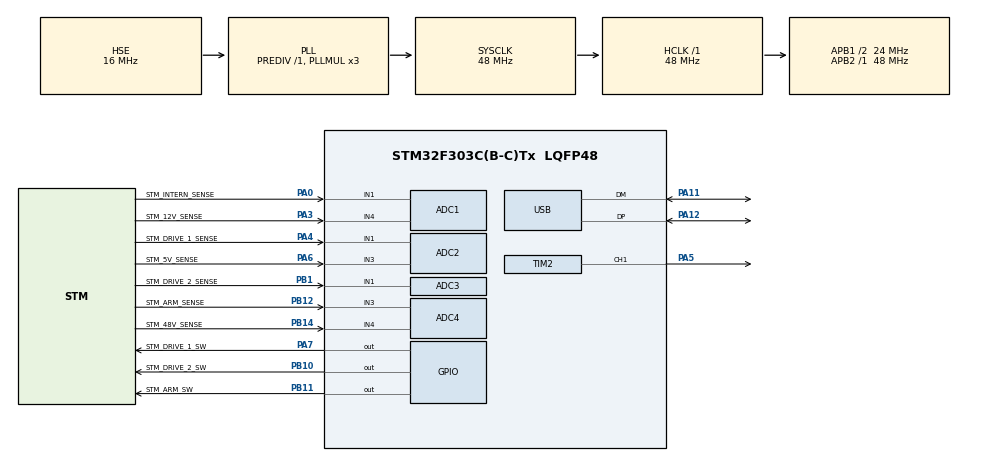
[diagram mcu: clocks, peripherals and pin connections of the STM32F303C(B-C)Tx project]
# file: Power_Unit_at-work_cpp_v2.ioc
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ADC1.Channel-0\#ChannelRegularConversion=ADC_CHANNEL_1
ADC1.Channel-1\#ChannelRegularConversion=ADC_CHANNEL_4
ADC1.ClockPrescaler=ADC_CLOCK_SYNC_PCLK_DIV2
ADC1.ContinuousConvMode=ENABLE
ADC1.DMAContinuousRequests=ENABLE
ADC1.EOCSelection=ADC_EOC_SEQ_CONV
ADC1.EnableInjectedConversion=DISABLE
ADC1.NbrOfConversion=2
ADC1.NbrOfConversionFlag=1
ADC1.Offset-0\#ChannelRegularConversion=0
ADC1.Offset-1\#ChannelRegularConversion=0
ADC1.OffsetNumber-0\#ChannelRegularConversion=ADC_OFFSET_NONE
ADC1.OffsetNumber-1\#ChannelRegularConversion=ADC_OFFSET_NONE
ADC1.Overrun=ADC_OVR_DATA_PRESERVED
ADC1.Rank-0\#ChannelRegularConversion=1
ADC1.Rank-1\#ChannelRegularConversion=2
ADC1.SamplingTime-0\#ChannelRegularConversion=ADC_SAMPLETIME_181CYCLES_5
ADC1.SamplingTime-1\#ChannelRegularConversion=ADC_SAMPLETIME_181CYCLES_5
ADC1.SamplingTimeOPAMP-1\#ChannelRegularConversion=ADC_SAMPLETIME_7CYCLES_5
ADC1.master=1
ADC2.Channel-0\#ChannelRegularConversion=ADC_CHANNEL_1
ADC2.Channel-1\#ChannelRegularConversion=ADC_CHANNEL_3
ADC2.ClockPrescaler=ADC_CLOCK_SYNC_PCLK_DIV2
ADC2.ContinuousConvMode=ENABLE
ADC2.DMAContinuousRequests=ENABLE
ADC2.EOCSelection=ADC_EOC_SEQ_CONV
ADC2.EnableInjectedConversion=DISABLE
ADC2.NbrOfConversion=2
ADC2.NbrOfConversionFlag=1
ADC2.Offset-0\#ChannelRegularConversion=0
ADC2.Offset-1\#ChannelRegularConversion=0
ADC2.OffsetNumber-0\#ChannelRegularConversion=ADC_OFFSET_NONE
ADC2.OffsetNumber-1\#ChannelRegularConversion=ADC_OFFSET_NONE
ADC2.Overrun=ADC_OVR_DATA_PRESERVED
ADC2.Rank-0\#ChannelRegularConversion=1
ADC2.Rank-1\#ChannelRegularConversion=2
ADC2.SamplingTime-0\#ChannelRegularConversion=ADC_SAMPLETIME_181CYCLES_5
ADC2.SamplingTime-1\#ChannelRegularConversion=ADC_SAMPLETIME_181CYCLES_5
ADC2.SamplingTimeOPAMP-1\#ChannelRegularConversion=ADC_SAMPLETIME_7CYCLES_5
ADC3.Channel-0\#ChannelRegularConversion=ADC_CHANNEL_1
ADC3.ClockPrescaler=ADC_CLOCK_SYNC_PCLK_DIV1
ADC3.ContinuousConvMode=ENABLE
ADC3.DMAContinuousRequests=ENABLE
ADC3.EOCSelection=ADC_EOC_SEQ_CONV
ADC3.EnableInjectedConversion=DISABLE
ADC3.NbrOfConversion=1
ADC3.NbrOfConversionFlag=1
ADC3.Offset-0\#ChannelRegularConversion=0
ADC3.OffsetNumber-0\#ChannelRegularConversion=ADC_OFFSET_NONE
ADC3.Overrun=ADC_OVR_DATA_PRESERVED
ADC3.Rank-0\#ChannelRegularConversion=1
ADC3.SamplingTime-0\#ChannelRegularConversion=ADC_SAMPLETIME_181CYCLES_5
ADC3.SamplingTimeOPAMP-0\#ChannelRegularConversion=ADC_SAMPLETIME_19CYCLES_5
ADC3.master=1
ADC4.Channel-1\#ChannelRegularConversion=ADC_CHANNEL_3
ADC4.Channel-2\#ChannelRegularConversion=ADC_CHANNEL_4
ADC4.ClockPrescaler=ADC_CLOCK_SYNC_PCLK_DIV1
ADC4.ContinuousConvMode=ENABLE
ADC4.DMAContinuousRequests=ENABLE
ADC4.EOCSelection=ADC_EOC_SEQ_CONV
ADC4.EnableInjectedConversion=DISABLE
ADC4.NbrOfConversion=2
ADC4.NbrOfConversionFlag=1
ADC4.Offset-1\#ChannelRegularConversion=0
ADC4.Offset-2\#ChannelRegularConversion=0
ADC4.OffsetNumber-1\#ChannelRegularConversion=ADC_OFFSET_NONE
ADC4.OffsetNumber-2\#ChannelRegularConversion=ADC_OFFSET_NONE
ADC4.Overrun=ADC_OVR_DATA_PRESERVED
ADC4.Rank-1\#ChannelRegularConversion=1
ADC4.Rank-2\#ChannelRegularConversion=2
ADC4.SamplingTime-1\#ChannelRegularConversion=ADC_SAMPLETIME_181CYCLES_5
ADC4.SamplingTime-2\#ChannelRegularConversion=ADC_SAMPLETIME_181CYCLES_5
ADC4.SamplingTimeOPAMP-2\#ChannelRegularConversion=ADC_SAMPLETIME_19CYCLES_5
Dma.ADC1.3.Direction=DMA_PERIPH_TO_MEMORY
Dma.ADC1.3.Instance=DMA1_Channel1
Dma.ADC1.3.MemDataAlignment=DMA_MDATAALIGN_HALFWORD
Dma.ADC1.3.MemInc=DMA_MINC_ENABLE
Dma.ADC1.3.Mode=DMA_CIRCULAR
Dma.ADC1.3.PeriphDataAlignment=DMA_PDATAALIGN_HALFWORD
Dma.ADC1.3.PeriphInc=DMA_PINC_DISABLE
Dma.ADC1.3.Priority=DMA_PRIORITY_LOW
Dma.ADC2.0.Direction=DMA_PERIPH_TO_MEMORY
Dma.ADC2.0.Instance=DMA2_Channel1
Dma.ADC2.0.MemDataAlignment=DMA_MDATAALIGN_HALFWORD
Dma.ADC2.0.MemInc=DMA_MINC_ENABLE
Dma.ADC2.0.Mode=DMA_CIRCULAR
Dma.ADC2.0.PeriphDataAlignment=DMA_PDATAALIGN_HALFWORD
Dma.ADC2.0.PeriphInc=DMA_PINC_DISABLE
Dma.ADC2.0.Priority=DMA_PRIORITY_LOW
Dma.ADC3.1.Direction=DMA_PERIPH_TO_MEMORY
Dma.ADC3.1.Instance=DMA2_Channel5
Dma.ADC3.1.MemDataAlignment=DMA_MDATAALIGN_HALFWORD
Dma.ADC3.1.MemInc=DMA_MINC_ENABLE
Dma.ADC3.1.Mode=DMA_CIRCULAR
Dma.ADC3.1.PeriphDataAlignment=DMA_PDATAALIGN_HALFWORD
Dma.ADC3.1.PeriphInc=DMA_PINC_DISABLE
Dma.ADC3.1.Priority=DMA_PRIORITY_LOW
Dma.ADC4.2.Direction=DMA_PERIPH_TO_MEMORY
Dma.ADC4.2.Instance=DMA2_Channel2
Dma.ADC4.2.MemDataAlignment=DMA_MDATAALIGN_HALFWORD
Dma.ADC4.2.MemInc=DMA_MINC_ENABLE
Dma.ADC4.2.Mode=DMA_CIRCULAR
Dma.ADC4.2.PeriphDataAlignment=DMA_PDATAALIGN_HALFWORD
Dma.ADC4.2.PeriphInc=DMA_PINC_DISABLE
Dma.ADC4.2.Priority=DMA_PRIORITY_LOW
Dma.Request0=ADC2
Dma.Request1=ADC3
Dma.Request2=ADC4
Dma.Request3=ADC1
Mcu.Family=STM32F3
Mcu.Name=STM32F303C(B-C)Tx
Mcu.Package=LQFP48
NVIC.ADC1_2_IRQn=true\:0\:0\:false\:false\:true\:true\:true\:true
NVIC.ADC3_IRQn=true\:0\:0\:false\:false\:true\:true\:true\:true
NVIC.ADC4_IRQn=true\:0\:0\:false\:false\:true\:true\:true\:true
NVIC.DMA1_Channel1_IRQn=true\:0\:0\:false\:false\:true\:false\:true\:true
NVIC.DMA2_Channel1_IRQn=true\:0\:0\:false\:false\:true\:false\:true\:true
NVIC.DMA2_Channel2_IRQn=true\:0\:0\:false\:false\:true\:false\:true\:true
NVIC.DMA2_Channel5_IRQn=true\:0\:0\:false\:false\:true\:false\:true\:true
NVIC.PriorityGroup=NVIC_PRIORITYGROUP_4
NVIC.TIM2_IRQn=true\:0\:0\:false\:false\:true\:true\:true\:true
NVIC.USB_LP_CAN_RX0_IRQn=true\:0\:0\:false\:false\:true\:false\:true\:true
PA0.GPIO_Label=STM_INTERN_SENSE
PA0.Signal=SharedAnalog_PA0
PA11.Mode=Device
PA11.Signal=USB_DM
PA12.Mode=Device
PA12.Signal=USB_DP
PA13.Mode=Serial_Wire
PA13.Signal=SYS_JTMS-SWDIO
PA14.Mode=Serial_Wire
PA14.Signal=SYS_JTCK-SWCLK
PA3.GPIO_Label=STM_12V_SENSE
PA3.Signal=SharedAnalog_PA3
PA4.GPIO_Label=STM_DRIVE_1_SENSE
PA4.Signal=SharedAnalog_PA4
PA5.Signal=S_TIM2_CH1_ETR
PA6.GPIO_Label=STM_5V_SENSE
PA6.Signal=SharedAnalog_PA6
PA7.GPIO_Label=STM_DRIVE_1_SW
PA7.Signal=GPIO_Output
PB1.GPIO_Label=STM_DRIVE_2_SENSE
PB1.Signal=SharedAnalog_PB1
PB10.GPIO_Label=STM_DRIVE_2_SW
PB10.Signal=GPIO_Output
PB11.GPIO_Label=STM_ARM_SW
PB11.Signal=GPIO_Output
PB12.GPIO_Label=STM_ARM_SENSE
PB12.Signal=SharedAnalog_PB12
PB14.GPIO_Label=STM_48V_SENSE
PB14.Signal=SharedAnalog_PB14
PF0-OSC_IN.Mode=HSE-External-Oscillator
PF0-OSC_IN.Signal=RCC_OSC_IN
PF1-OSC_OUT.Mode=HSE-External-Oscillator
PF1-OSC_OUT.Signal=RCC_OSC_OUT
ProjectManager.HeapSize=0x200
ProjectManager.StackSize=0x400
ProjectManager.TargetToolchain=STM32CubeIDE
RCC.AHBFreq_Value=48000000
RCC.APB1CLKDivider=RCC_HCLK_DIV2
RCC.APB1Freq_Value=24000000
RCC.APB1TimFreq_Value=48000000
RCC.APB2Freq_Value=48000000
RCC.APB2TimFreq_Value=48000000
RCC.CortexFreq_Value=48000000
RCC.HCLKFreq_Value=48000000
RCC.HSE_VALUE=16000000
RCC.HSI_VALUE=8000000
RCC.LSE_VALUE=32768
RCC.PLLMUL=RCC_PLL_MUL3
RCC.SYSCLKFreq_VALUE=48000000
RCC.SYSCLKSourceVirtual=RCC_SYSCLKSOURCE_PLLCLK
RCC.USBFreq_Value=48000000
SH.S_TIM2_CH1_ETR.0=TIM2_CH1,Output Compare1 CH1
SH.SharedAnalog_PA0.0=GPIO_Analog
SH.SharedAnalog_PA0.1=ADC1_IN1,IN1-Single-Ended
SH.SharedAnalog_PA3.0=GPIO_Analog
SH.SharedAnalog_PA3.1=ADC1_IN4,IN4-Single-Ended
SH.SharedAnalog_PA4.0=GPIO_Analog
SH.SharedAnalog_PA4.1=ADC2_IN1,IN1-Single-Ended
SH.SharedAnalog_PA6.0=GPIO_Analog
SH.SharedAnalog_PA6.1=ADC2_IN3,IN3-Single-Ended
SH.SharedAnalog_PB1.0=GPIO_Analog
SH.SharedAnalog_PB1.1=ADC3_IN1,IN1-Single-Ended
SH.SharedAnalog_PB12.0=GPIO_Analog
SH.SharedAnalog_PB12.1=ADC4_IN3,IN3-Single-Ended
SH.SharedAnalog_PB14.0=GPIO_Analog
SH.SharedAnalog_PB14.1=ADC4_IN4,IN4-Single-Ended
TIM2.AutoReloadPreload=TIM_AUTORELOAD_PRELOAD_ENABLE
TIM2.Channel-Output\ Compare1\ CH1=TIM_CHANNEL_1
TIM2.OC1Preload=ENABLE
TIM2.OCMode_1=TIM_OCMODE_TOGGLE
TIM2.OCPolarity_1=TIM_OCPOLARITY_LOW
TIM2.Period=99
TIM2.Prescaler=74
TIM2.Pulse-Output\ Compare1\ CH1=49
USB_DEVICE.CLASS_NAME_FS=CDC
USB_DEVICE.VirtualMode=Cdc
USB_DEVICE.VirtualModeFS=Cdc_FS
VP_TIM2_VS_ClockSourceINT.Mode=Internal
VP_USB_DEVICE_VS_USB_DEVICE_CDC_FS.Mode=CDC_FS
board=custom

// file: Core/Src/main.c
/* USER CODE BEGIN Header */
/**
  ******************************************************************************
  * @file           : main.c
  * @brief          : Main program body
  ******************************************************************************
  * @attention
  *
  * Copyright (c) 2023 STMicroelectronics.
  * All rights reserved.
  *
  * This software is licensed under terms that can be found in the LICENSE file
  * in the root directory of this software component.
  * If no LICENSE file comes with this software, it is provided AS-IS.
  *
  ******************************************************************************
  */
/* USER CODE END Header */
#include "main.h"
#include "usb_device.h"

/* USER CODE BEGIN Includes */
#include "usbd_cdc_if.h"
#include <stdbool.h>

//#include "ADC_Data.h"
/* USER CODE END Includes */

ADC_HandleTypeDef hadc1;
ADC_HandleTypeDef hadc2;
ADC_HandleTypeDef hadc3;
ADC_HandleTypeDef hadc4;
DMA_HandleTypeDef hdma_adc1;
DMA_HandleTypeDef hdma_adc2;
DMA_HandleTypeDef hdma_adc3;
DMA_HandleTypeDef hdma_adc4;

TIM_HandleTypeDef htim2;

/* USER CODE BEGIN PV */
//Buffer für Anzahl an Channels
volatile uint16_t ADC1_DMA_BUFFER[2];		// Buffer IN1, IN4 ADC1
volatile uint16_t ADC2_DMA_BUFFER[2];		// Buffer IN1, IN3 ADC2
volatile uint16_t ADC3_DMA_BUFFER[1];		// Buffer IN1 ADC3
volatile uint16_t ADC4_DMA_BUFFER[2];		// Buffer IN3, IN4 ADC3

//volatile uint16_t CONTROL_FLAG = 0;			// All flags to operate
//ADCData all{};								// Data container for ADC data
/* USER CODE END PV */

void SystemClock_Config(void);
static void MX_GPIO_Init(void);
static void MX_DMA_Init(void);
static void MX_TIM2_Init(void);
static void MX_ADC1_Init(void);
static void MX_ADC2_Init(void);
static void MX_ADC3_Init(void);
static void MX_ADC4_Init(void);
/* USER CODE BEGIN PFP */

void enable_Arm(void);
void disable_Arm(void);
void enable_Drive(void);
void disable_Drive(void);

/* USER CODE END PFP */

int main(void)
{

  /* MCU Configuration--------------------------------------------------------*/

  /* Reset of all peripherals, Initializes the Flash interface and the Systick. */
  HAL_Init();

  /* USER CODE BEGIN Init */

  //HAL_TIM_Base_Start_IT(&htim2);

  //HAL_GPIO_WritePin(STM_INTERN_SENSE_GPIO_Port, STM_INTERN_SENSE_Pin, GPIO_PIN_SET);	// Enable 24 V internal

  //enable_Arm();
  //enable_Drive();

  /* USER CODE END Init */

  /* Configure the system clock */
  SystemClock_Config();

  /* Initialize all configured peripherals */
  MX_GPIO_Init();
  MX_DMA_Init();
  MX_TIM2_Init();
  MX_ADC1_Init();
  MX_ADC2_Init();
  MX_ADC3_Init();
  MX_ADC4_Init();
  MX_USB_DEVICE_Init();
  /* USER CODE BEGIN 2 */

  enable_Arm();
  enable_Drive();

  HAL_ADC_Start_DMA(&hadc1, (uint32_t*) &ADC1_DMA_BUFFER, 2);

  /* USER CODE END 2 */

  /* Infinite loop */
  while (1)
  {

  }
}

void SystemClock_Config(void)
{
  RCC_OscInitTypeDef RCC_OscInitStruct = {0};
  RCC_ClkInitTypeDef RCC_ClkInitStruct = {0};
  RCC_PeriphCLKInitTypeDef PeriphClkInit = {0};

  /** Initializes the RCC Oscillators according to the specified parameters
  * in the RCC_OscInitTypeDef structure.
  */
  RCC_OscInitStruct.OscillatorType = RCC_OSCILLATORTYPE_HSE;
  RCC_OscInitStruct.HSEState = RCC_HSE_ON;
  RCC_OscInitStruct.HSEPredivValue = RCC_HSE_PREDIV_DIV1;
  RCC_OscInitStruct.HSIState = RCC_HSI_ON;
  RCC_OscInitStruct.PLL.PLLState = RCC_PLL_ON;
  RCC_OscInitStruct.PLL.PLLSource = RCC_PLLSOURCE_HSE;
  RCC_OscInitStruct.PLL.PLLMUL = RCC_PLL_MUL3;
  if (HAL_RCC_OscConfig(&RCC_OscInitStruct) != HAL_OK)
  {
    Error_Handler();
  }

  /** Initializes the CPU, AHB and APB buses clocks
  */
  RCC_ClkInitStruct.ClockType = RCC_CLOCKTYPE_HCLK|RCC_CLOCKTYPE_SYSCLK
                              |RCC_CLOCKTYPE_PCLK1|RCC_CLOCKTYPE_PCLK2;
  RCC_ClkInitStruct.SYSCLKSource = RCC_SYSCLKSOURCE_PLLCLK;
  RCC_ClkInitStruct.AHBCLKDivider = RCC_SYSCLK_DIV1;
  RCC_ClkInitStruct.APB1CLKDivider = RCC_HCLK_DIV2;
  RCC_ClkInitStruct.APB2CLKDivider = RCC_HCLK_DIV1;

  if (HAL_RCC_ClockConfig(&RCC_ClkInitStruct, FLASH_LATENCY_1) != HAL_OK)
  {
    Error_Handler();
  }
  PeriphClkInit.PeriphClockSelection = RCC_PERIPHCLK_USB;
  PeriphClkInit.USBClockSelection = RCC_USBCLKSOURCE_PLL;
  if (HAL_RCCEx_PeriphCLKConfig(&PeriphClkInit) != HAL_OK)
  {
    Error_Handler();
  }
}

static void MX_ADC1_Init(void)
{

  ADC_MultiModeTypeDef multimode = {0};
  ADC_ChannelConfTypeDef sConfig = {0};

  /** Common config
  */
  hadc1.Instance = ADC1;
  hadc1.Init.ClockPrescaler = ADC_CLOCK_SYNC_PCLK_DIV2;
  hadc1.Init.Resolution = ADC_RESOLUTION_12B;
  hadc1.Init.ScanConvMode = ADC_SCAN_ENABLE;
  hadc1.Init.ContinuousConvMode = ENABLE;
  hadc1.Init.DiscontinuousConvMode = DISABLE;
  hadc1.Init.ExternalTrigConvEdge = ADC_EXTERNALTRIGCONVEDGE_NONE;
  hadc1.Init.ExternalTrigConv = ADC_SOFTWARE_START;
  hadc1.Init.DataAlign = ADC_DATAALIGN_RIGHT;
  hadc1.Init.NbrOfConversion = 2;
  hadc1.Init.DMAContinuousRequests = ENABLE;
  hadc1.Init.EOCSelection = ADC_EOC_SEQ_CONV;
  hadc1.Init.LowPowerAutoWait = DISABLE;
  hadc1.Init.Overrun = ADC_OVR_DATA_PRESERVED;
  if (HAL_ADC_Init(&hadc1) != HAL_OK)
  {
    Error_Handler();
  }

  /** Configure the ADC multi-mode
  */
  multimode.Mode = ADC_MODE_INDEPENDENT;
  if (HAL_ADCEx_MultiModeConfigChannel(&hadc1, &multimode) != HAL_OK)
  {
    Error_Handler();
  }

  /** Configure Regular Channel
  */
  sConfig.Channel = ADC_CHANNEL_1;
  sConfig.Rank = ADC_REGULAR_RANK_1;
  sConfig.SingleDiff = ADC_SINGLE_ENDED;
  sConfig.SamplingTime = ADC_SAMPLETIME_181CYCLES_5;
  sConfig.OffsetNumber = ADC_OFFSET_NONE;
  sConfig.Offset = 0;
  if (HAL_ADC_ConfigChannel(&hadc1, &sConfig) != HAL_OK)
  {
    Error_Handler();
  }

  /** Configure Regular Channel
  */
  sConfig.Channel = ADC_CHANNEL_4;
  sConfig.Rank = ADC_REGULAR_RANK_2;
  if (HAL_ADC_ConfigChannel(&hadc1, &sConfig) != HAL_OK)
  {
    Error_Handler();
  }

}

static void MX_ADC2_Init(void)
{

  ADC_ChannelConfTypeDef sConfig = {0};

  /** Common config
  */
  hadc2.Instance = ADC2;
  hadc2.Init.ClockPrescaler = ADC_CLOCK_SYNC_PCLK_DIV2;
  hadc2.Init.Resolution = ADC_RESOLUTION_12B;
  hadc2.Init.ScanConvMode = ADC_SCAN_ENABLE;
  hadc2.Init.ContinuousConvMode = ENABLE;
  hadc2.Init.DiscontinuousConvMode = DISABLE;
  hadc2.Init.ExternalTrigConvEdge = ADC_EXTERNALTRIGCONVEDGE_NONE;
  hadc2.Init.ExternalTrigConv = ADC_SOFTWARE_START;
  hadc2.Init.DataAlign = ADC_DATAALIGN_RIGHT;
  hadc2.Init.NbrOfConversion = 2;
  hadc2.Init.DMAContinuousRequests = ENABLE;
  hadc2.Init.EOCSelection = ADC_EOC_SEQ_CONV;
  hadc2.Init.LowPowerAutoWait = DISABLE;
  hadc2.Init.Overrun = ADC_OVR_DATA_PRESERVED;
  if (HAL_ADC_Init(&hadc2) != HAL_OK)
  {
    Error_Handler();
  }

  /** Configure Regular Channel
  */
  sConfig.Channel = ADC_CHANNEL_1;
  sConfig.Rank = ADC_REGULAR_RANK_1;
  sConfig.SingleDiff = ADC_SINGLE_ENDED;
  sConfig.SamplingTime = ADC_SAMPLETIME_181CYCLES_5;
  sConfig.OffsetNumber = ADC_OFFSET_NONE;
  sConfig.Offset = 0;
  if (HAL_ADC_ConfigChannel(&hadc2, &sConfig) != HAL_OK)
  {
    Error_Handler();
  }

  /** Configure Regular Channel
  */
  sConfig.Channel = ADC_CHANNEL_3;
  sConfig.Rank = ADC_REGULAR_RANK_2;
  if (HAL_ADC_ConfigChannel(&hadc2, &sConfig) != HAL_OK)
  {
    Error_Handler();
  }

}

static void MX_ADC3_Init(void)
{

  ADC_MultiModeTypeDef multimode = {0};
  ADC_ChannelConfTypeDef sConfig = {0};

  /** Common config
  */
  hadc3.Instance = ADC3;
  hadc3.Init.ClockPrescaler = ADC_CLOCK_SYNC_PCLK_DIV1;
  hadc3.Init.Resolution = ADC_RESOLUTION_12B;
  hadc3.Init.ScanConvMode = ADC_SCAN_DISABLE;
  hadc3.Init.ContinuousConvMode = ENABLE;
  hadc3.Init.DiscontinuousConvMode = DISABLE;
  hadc3.Init.ExternalTrigConvEdge = ADC_EXTERNALTRIGCONVEDGE_NONE;
  hadc3.Init.ExternalTrigConv = ADC_SOFTWARE_START;
  hadc3.Init.DataAlign = ADC_DATAALIGN_RIGHT;
  hadc3.Init.NbrOfConversion = 1;
  hadc3.Init.DMAContinuousRequests = ENABLE;
  hadc3.Init.EOCSelection = ADC_EOC_SEQ_CONV;
  hadc3.Init.LowPowerAutoWait = DISABLE;
  hadc3.Init.Overrun = ADC_OVR_DATA_PRESERVED;
  if (HAL_ADC_Init(&hadc3) != HAL_OK)
  {
    Error_Handler();
  }

  /** Configure the ADC multi-mode
  */
  multimode.Mode = ADC_MODE_INDEPENDENT;
  if (HAL_ADCEx_MultiModeConfigChannel(&hadc3, &multimode) != HAL_OK)
  {
    Error_Handler();
  }

  /** Configure Regular Channel
  */
  sConfig.Channel = ADC_CHANNEL_1;
  sConfig.Rank = ADC_REGULAR_RANK_1;
  sConfig.SingleDiff = ADC_SINGLE_ENDED;
  sConfig.SamplingTime = ADC_SAMPLETIME_181CYCLES_5;
  sConfig.OffsetNumber = ADC_OFFSET_NONE;
  sConfig.Offset = 0;
  if (HAL_ADC_ConfigChannel(&hadc3, &sConfig) != HAL_OK)
  {
    Error_Handler();
  }

}

static void MX_ADC4_Init(void)
{

  ADC_ChannelConfTypeDef sConfig = {0};

  /** Common config
  */
  hadc4.Instance = ADC4;
  hadc4.Init.ClockPrescaler = ADC_CLOCK_SYNC_PCLK_DIV1;
  hadc4.Init.Resolution = ADC_RESOLUTION_12B;
  hadc4.Init.ScanConvMode = ADC_SCAN_ENABLE;
  hadc4.Init.ContinuousConvMode = ENABLE;
  hadc4.Init.DiscontinuousConvMode = DISABLE;
  hadc4.Init.ExternalTrigConvEdge = ADC_EXTERNALTRIGCONVEDGE_NONE;
  hadc4.Init.ExternalTrigConv = ADC_SOFTWARE_START;
  hadc4.Init.DataAlign = ADC_DATAALIGN_RIGHT;
  hadc4.Init.NbrOfConversion = 2;
  hadc4.Init.DMAContinuousRequests = ENABLE;
  hadc4.Init.EOCSelection = ADC_EOC_SEQ_CONV;
  hadc4.Init.LowPowerAutoWait = DISABLE;
  hadc4.Init.Overrun = ADC_OVR_DATA_PRESERVED;
  if (HAL_ADC_Init(&hadc4) != HAL_OK)
  {
    Error_Handler();
  }

  /** Configure Regular Channel
  */
  sConfig.Channel = ADC_CHANNEL_3;
  sConfig.Rank = ADC_REGULAR_RANK_1;
  sConfig.SingleDiff = ADC_SINGLE_ENDED;
  sConfig.SamplingTime = ADC_SAMPLETIME_181CYCLES_5;
  sConfig.OffsetNumber = ADC_OFFSET_NONE;
  sConfig.Offset = 0;
  if (HAL_ADC_ConfigChannel(&hadc4, &sConfig) != HAL_OK)
  {
    Error_Handler();
  }

  /** Configure Regular Channel
  */
  sConfig.Channel = ADC_CHANNEL_4;
  sConfig.Rank = ADC_REGULAR_RANK_2;
  if (HAL_ADC_ConfigChannel(&hadc4, &sConfig) != HAL_OK)
  {
    Error_Handler();
  }

}

static void MX_TIM2_Init(void)
{

  TIM_ClockConfigTypeDef sClockSourceConfig = {0};
  TIM_MasterConfigTypeDef sMasterConfig = {0};
  TIM_OC_InitTypeDef sConfigOC = {0};

  htim2.Instance = TIM2;
  htim2.Init.Prescaler = 74;
  htim2.Init.CounterMode = TIM_COUNTERMODE_UP;
  htim2.Init.Period = 99;
  htim2.Init.ClockDivision = TIM_CLOCKDIVISION_DIV1;
  htim2.Init.AutoReloadPreload = TIM_AUTORELOAD_PRELOAD_ENABLE;
  if (HAL_TIM_Base_Init(&htim2) != HAL_OK)
  {
    Error_Handler();
  }
  sClockSourceConfig.ClockSource = TIM_CLOCKSOURCE_INTERNAL;
  if (HAL_TIM_ConfigClockSource(&htim2, &sClockSourceConfig) != HAL_OK)
  {
    Error_Handler();
  }
  if (HAL_TIM_OC_Init(&htim2) != HAL_OK)
  {
    Error_Handler();
  }
  sMasterConfig.MasterOutputTrigger = TIM_TRGO_RESET;
  sMasterConfig.MasterSlaveMode = TIM_MASTERSLAVEMODE_DISABLE;
  if (HAL_TIMEx_MasterConfigSynchronization(&htim2, &sMasterConfig) != HAL_OK)
  {
    Error_Handler();
  }
  sConfigOC.OCMode = TIM_OCMODE_TOGGLE;
  sConfigOC.Pulse = 49;
  sConfigOC.OCPolarity = TIM_OCPOLARITY_LOW;
  sConfigOC.OCFastMode = TIM_OCFAST_DISABLE;
  if (HAL_TIM_OC_ConfigChannel(&htim2, &sConfigOC, TIM_CHANNEL_1) != HAL_OK)
  {
    Error_Handler();
  }
  __HAL_TIM_ENABLE_OCxPRELOAD(&htim2, TIM_CHANNEL_1);
  HAL_TIM_MspPostInit(&htim2);

}

static void MX_DMA_Init(void)
{

  /* DMA controller clock enable */
  __HAL_RCC_DMA2_CLK_ENABLE();
  __HAL_RCC_DMA1_CLK_ENABLE();

  /* DMA interrupt init */
  /* DMA1_Channel1_IRQn interrupt configuration */
  HAL_NVIC_SetPriority(DMA1_Channel1_IRQn, 0, 0);
  HAL_NVIC_EnableIRQ(DMA1_Channel1_IRQn);
  /* DMA2_Channel1_IRQn interrupt configuration */
  HAL_NVIC_SetPriority(DMA2_Channel1_IRQn, 0, 0);
  HAL_NVIC_EnableIRQ(DMA2_Channel1_IRQn);
  /* DMA2_Channel2_IRQn interrupt configuration */
  HAL_NVIC_SetPriority(DMA2_Channel2_IRQn, 0, 0);
  HAL_NVIC_EnableIRQ(DMA2_Channel2_IRQn);
  /* DMA2_Channel5_IRQn interrupt configuration */
  HAL_NVIC_SetPriority(DMA2_Channel5_IRQn, 0, 0);
  HAL_NVIC_EnableIRQ(DMA2_Channel5_IRQn);

}

static void MX_GPIO_Init(void)
{
  GPIO_InitTypeDef GPIO_InitStruct = {0};

  /* GPIO Ports Clock Enable */
  __HAL_RCC_GPIOF_CLK_ENABLE();
  __HAL_RCC_GPIOA_CLK_ENABLE();
  __HAL_RCC_GPIOB_CLK_ENABLE();

  /*Configure GPIO pin Output Level */
  HAL_GPIO_WritePin(STM_DRIVE_1_SW_GPIO_Port, STM_DRIVE_1_SW_Pin, GPIO_PIN_RESET);

  /*Configure GPIO pin Output Level */
  HAL_GPIO_WritePin(GPIOB, STM_DRIVE_2_SW_Pin|STM_ARM_SW_Pin, GPIO_PIN_RESET);

  /*Configure GPIO pin : STM_DRIVE_1_SW_Pin */
  GPIO_InitStruct.Pin = STM_DRIVE_1_SW_Pin;
  GPIO_InitStruct.Mode = GPIO_MODE_OUTPUT_PP;
  GPIO_InitStruct.Pull = GPIO_NOPULL;
  GPIO_InitStruct.Speed = GPIO_SPEED_FREQ_LOW;
  HAL_GPIO_Init(STM_DRIVE_1_SW_GPIO_Port, &GPIO_InitStruct);

  /*Configure GPIO pins : STM_DRIVE_2_SW_Pin STM_ARM_SW_Pin */
  GPIO_InitStruct.Pin = STM_DRIVE_2_SW_Pin|STM_ARM_SW_Pin;
  GPIO_InitStruct.Mode = GPIO_MODE_OUTPUT_PP;
  GPIO_InitStruct.Pull = GPIO_NOPULL;
  GPIO_InitStruct.Speed = GPIO_SPEED_FREQ_LOW;
  HAL_GPIO_Init(GPIOB, &GPIO_InitStruct);

}

/* USER CODE BEGIN 4 */

uint16_t g_adc1_rank1_intern_sense_data = 420;
uint16_t g_adc1_rank2_12v_sense_data = 0;
uint16_t g_adc2_rank1_drive_1_sense_data = 0; //nicht benötigt
uint16_t g_adc2_rank2_5v_sense_data = 0;
uint16_t g_adc3_drive_2_sense_data = 0;
uint16_t g_adc4_rank1_arm_sense_data = 0;
uint16_t g_adc4_rank2_48v_sense_data = 420; //y

void HAL_ADC_ConvCpltCallback(ADC_HandleTypeDef *hadc)
{

	static int hadc1_number_of_channels = 2;
	static int hadc2_number_of_channels = 2;
	static int hadc3_number_of_channels = 1;
	static int hadc4_number_of_channels = 2;

	HAL_ADC_Stop_DMA(hadc); //Stop running ADCs
	//HAL_Delay(10);
	HAL_ADC_Start_DMA(&hadc1, (uint32_t*) &ADC1_DMA_BUFFER, hadc1_number_of_channels); //Start ADC1
	//HAL_Delay(10);

	/*
	 * Reading ADC 1
	 */

	if (hadc == &hadc1) {
		g_adc1_rank1_intern_sense_data = ADC1_DMA_BUFFER[0]; //ToDo: Formel, direkt konvertieren
		g_adc1_rank2_12v_sense_data = ADC1_DMA_BUFFER[1]; //ToDo: Formel, direkt konvertieren
		HAL_ADC_Stop_DMA(hadc); //Stop running ADCs
		HAL_ADC_Start_DMA(&hadc2, (uint32_t*) &ADC2_DMA_BUFFER, hadc2_number_of_channels); //Start ADC2
	}

	/*
	 * Reading ADC 2
	 */

	if (hadc == &hadc2) {
		g_adc2_rank1_drive_1_sense_data = ADC2_DMA_BUFFER[0]; //ToDo: Formel, direkt konvertieren
		g_adc2_rank2_5v_sense_data = ADC2_DMA_BUFFER[1]; //ToDo: Formel, direkt konvertieren
		HAL_ADC_Stop_DMA(hadc); //Stop running ADCs
		HAL_ADC_Start_DMA(&hadc3, (uint32_t*) &ADC3_DMA_BUFFER, hadc3_number_of_channels); //Start ADC3
	}

	/*
	 * Reading ADC 3
	 */

	if (hadc == &hadc3) {
		g_adc3_drive_2_sense_data = ADC3_DMA_BUFFER[0]; //ToDo: Formel, direkt konvertieren
		HAL_ADC_Stop_DMA(hadc); //Stop running ADCs
		HAL_ADC_Start_DMA(&hadc4, (uint32_t*) &ADC4_DMA_BUFFER, hadc4_number_of_channels); //Start ADC4
	}

	/*
	 * Reading ADC 4
	 */

	if (hadc == &hadc4) {
		g_adc4_rank1_arm_sense_data = ADC4_DMA_BUFFER[0]; //ToDo: Formel, direkt konvertieren
		g_adc4_rank2_48v_sense_data = ADC4_DMA_BUFFER[1]; //ToDo: Formel, direkt konvertieren
		HAL_ADC_Stop_DMA(hadc); //Stop running ADCs
		HAL_ADC_Start_DMA(&hadc1, (uint32_t*) &ADC1_DMA_BUFFER, hadc1_number_of_channels); //Start ADC1
	}

}

/* ************************************************************************************************
 *
 * Name: void enable_Arm(void), void disable_Arm(void),
 *
 * Description: enables or disables the arm
 *
 * ***********************************************************************************************/

bool arm_enabled;

void enable_Arm(void){
	HAL_GPIO_WritePin(STM_ARM_SW_GPIO_Port, STM_ARM_SW_Pin, GPIO_PIN_SET);
	arm_enabled = true;
}

void disable_Arm(void){
	HAL_GPIO_WritePin(STM_ARM_SW_GPIO_Port, STM_ARM_SW_Pin, GPIO_PIN_RESET);
	arm_enabled = false;
}

/* ************************************************************************************************
 *
 * Name: void enable_Drive(void), void disable_Drive(void),
 *
 * Description: enables or disables the Drive
 *
 * ***********************************************************************************************/

bool drive_enabled;

void enable_Drive(void){
	HAL_GPIO_WritePin(STM_DRIVE_2_SW_GPIO_Port, STM_DRIVE_2_SW_Pin, GPIO_PIN_SET);
	drive_enabled = true;
}

void disable_Drive(void){
	HAL_GPIO_WritePin(STM_DRIVE_2_SW_GPIO_Port, STM_DRIVE_2_SW_Pin, GPIO_PIN_RESET);
	drive_enabled = false;
}

/* USER CODE END 4 */

void Error_Handler(void)
{
  __disable_irq();
  while (1)
  {
  }
}
